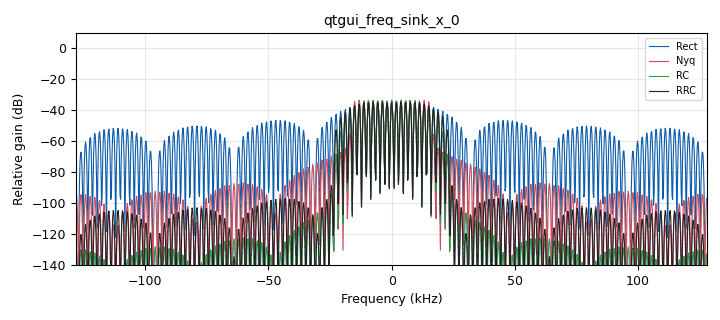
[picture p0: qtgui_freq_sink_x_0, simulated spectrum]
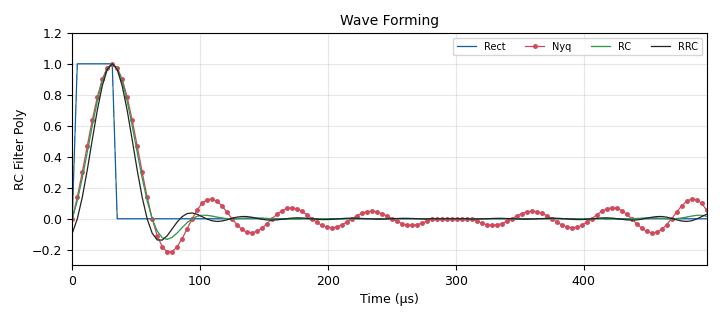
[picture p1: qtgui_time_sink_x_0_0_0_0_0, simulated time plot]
<?xml version='1.0' encoding='utf-8'?>
<?grc format='1' created='3.7.9'?>
<flow_graph>
<block>
<key>options</key>
<param><key>id</key><value>cosenoalzado</value></param>
<param><key>category</key><value>Custom</value></param>
<param><key>generate_options</key><value>qt_gui</value></param>
<param><key>run</key><value>run_stop</value></param>
</block>
<block>
<key>variable_qtgui_range</key>
<param><key>id</key><value>Delay_Nyquist</value></param>
<param><key>value</key><value>0</value></param>
<param><key>gui_hint</key><value>1,1,1,1</value></param>
<param><key>label</key><value>Retraso Nyq</value></param>
<param><key>orient</key><value>Qt.Horizontal</value></param>
<param><key>start</key><value>0</value></param>
<param><key>step</key><value>Sps</value></param>
<param><key>stop</key><value>ntaps*10000</value></param>
<param><key>rangeType</key><value>int</value></param>
</block>
<block>
<key>variable_qtgui_range</key>
<param><key>id</key><value>Delay_RC</value></param>
<param><key>value</key><value>0</value></param>
<param><key>gui_hint</key><value>1,2,1,1</value></param>
<param><key>label</key><value>Retraso RC</value></param>
<param><key>orient</key><value>Qt.Horizontal</value></param>
<param><key>start</key><value>0</value></param>
<param><key>step</key><value>Sps</value></param>
<param><key>stop</key><value>ntaps*10000</value></param>
<param><key>rangeType</key><value>int</value></param>
</block>
<block>
<key>variable_qtgui_range</key>
<param><key>id</key><value>Delay_RRC</value></param>
<param><key>value</key><value>0</value></param>
<param><key>gui_hint</key><value>1,3,1,1</value></param>
<param><key>label</key><value>Retraso RRC</value></param>
<param><key>orient</key><value>Qt.Horizontal</value></param>
<param><key>start</key><value>0</value></param>
<param><key>step</key><value>Sps</value></param>
<param><key>stop</key><value>ntaps*10000</value></param>
<param><key>rangeType</key><value>int</value></param>
</block>
<block>
<key>variable_qtgui_range</key>
<param><key>id</key><value>Delay_rect</value></param>
<param><key>value</key><value>0</value></param>
<param><key>gui_hint</key><value>1,0,1,1</value></param>
<param><key>label</key><value>Retraso Rect</value></param>
<param><key>orient</key><value>Qt.Horizontal</value></param>
<param><key>start</key><value>0</value></param>
<param><key>step</key><value>1</value></param>
<param><key>stop</key><value>ntaps*2</value></param>
<param><key>rangeType</key><value>int</value></param>
</block>
<block>
<key>variable</key>
<param><key>id</key><value>Rb</value></param>
<param><key>value</key><value>32000</value></param>
</block>
<block>
<key>variable</key>
<param><key>id</key><value>Sps</value></param>
<param><key>value</key><value>8</value></param>
</block>
<block>
<key>variable_qtgui_range</key>
<param><key>id</key><value>ntaps</value></param>
<param><key>value</key><value>Sps*16</value></param>
<param><key>gui_hint</key><value>0,2,1,1</value></param>
<param><key>label</key><value>ntaps</value></param>
<param><key>orient</key><value>Qt.Horizontal</value></param>
<param><key>start</key><value>Sps</value></param>
<param><key>step</key><value>Sps</value></param>
<param><key>stop</key><value>Sps*1024</value></param>
<param><key>rangeType</key><value>int</value></param>
</block>
<block>
<key>variable_qtgui_range</key>
<param><key>id</key><value>rolloff</value></param>
<param><key>value</key><value>0.5</value></param>
<param><key>gui_hint</key><value>0,1,1,1</value></param>
<param><key>label</key><value>Roll off</value></param>
<param><key>orient</key><value>Qt.Horizontal</value></param>
<param><key>start</key><value>0.1</value></param>
<param><key>step</key><value>0.1</value></param>
<param><key>stop</key><value>1.0</value></param>
</block>
<block>
<key>variable_qtgui_check_box</key>
<param><key>id</key><value>run_stop</value></param>
<param><key>value</key><value>True</value></param>
<param><key>false</key><value>False</value></param>
<param><key>gui_hint</key><value>0,0,1,1</value></param>
<param><key>label</key><value>Inicial/Parar</value></param>
<param><key>true</key><value>True</value></param>
<param><key>type</key><value>int</value></param>
</block>
<block>
<key>variable</key>
<param><key>id</key><value>samp_rate</value></param>
<param><key>value</key><value>Rb*Sps</value></param>
</block>
<block>
<key>b_Eye_Diagram_simple</key>
<param><key>id</key><value>b_Eye_Diagram_simple_0_0</value></param>
<param><key>AlphaLineas</key><value>0.5</value></param>
<param><key>Delay</key><value>0</value></param>
<param><key>gui_hint</key><value>pestana@2</value></param>
<param><key>GrosorLineas</key><value>20</value></param>
<param><key>N_eyes</key><value>2</value></param>
<param><key>Samprate</key><value>samp_rate</value></param>
<param><key>Sps</key><value>Sps</value></param>
<param><key>Title</key><value>"Eye Diagramm. Filtro Nyquist"</value></param>
<param><key>Ymax</key><value>2</value></param>
<param><key>Ymin</key><value>-2</value></param>
</block>
<block>
<key>b_binary_gen_rand</key>
<param><key>id</key><value>b_binary_gen_rand_0</value></param>
<param><key>_enabled</key><value>0</value></param>
</block>
<block>
<key>blocks_delay</key>
<param><key>id</key><value>blocks_delay_0</value></param>
<param><key>delay</key><value>121+ntaps*8+Delay_rect</value></param>
<param><key>type</key><value>float</value></param>
</block>
<block>
<key>blocks_delay</key>
<param><key>id</key><value>blocks_delay_0_0</value></param>
<param><key>delay</key><value>Delay_RC</value></param>
<param><key>type</key><value>float</value></param>
</block>
<block>
<key>blocks_delay</key>
<param><key>id</key><value>blocks_delay_0_0_0</value></param>
<param><key>delay</key><value>Delay_Nyquist</value></param>
<param><key>type</key><value>float</value></param>
</block>
<block>
<key>blocks_delay</key>
<param><key>id</key><value>blocks_delay_0_0_1</value></param>
<param><key>delay</key><value>Delay_RRC</value></param>
<param><key>type</key><value>float</value></param>
</block>
<block>
<key>blocks_throttle</key>
<param><key>id</key><value>blocks_throttle_0_0_0_0</value></param>
<param><key>samples_per_second</key><value>samp_rate</value></param>
<param><key>type</key><value>float</value></param>
</block>
<block>
<key>blocks_vector_source_x</key>
<param><key>id</key><value>blocks_vector_source_x_0</value></param>
<param><key>type</key><value>float</value></param>
<param><key>repeat</key><value>True</value></param>
<param><key>vector</key><value>(1,0,0,0,0,0,0,0,0,0,0,0,0,0,0,0,0)</value></param>
</block>
<block>
<key>import</key>
<param><key>id</key><value>import_0</value></param>
<param><key>import</key><value>import numpy</value></param>
</block>
<block>
<key>interp_fir_filter_xxx</key>
<param><key>id</key><value>interp_fir_filter_xxx_0_0_0</value></param>
<param><key>interp</key><value>Sps</value></param>
<param><key>taps</key><value>wform.rect(Sps)</value></param>
<param><key>type</key><value>fff</value></param>
</block>
<block>
<key>interp_fir_filter_xxx</key>
<param><key>id</key><value>interp_fir_filter_xxx_0_0_0_0</value></param>
<param><key>interp</key><value>Sps</value></param>
<param><key>taps</key><value>wform.nyq(Sps,ntaps)</value></param>
<param><key>type</key><value>fff</value></param>
</block>
<block>
<key>interp_fir_filter_xxx</key>
<param><key>id</key><value>interp_fir_filter_xxx_0_0_0_0_0</value></param>
<param><key>interp</key><value>Sps</value></param>
<param><key>taps</key><value>wform.rcos(Sps,ntaps,rolloff)</value></param>
<param><key>type</key><value>fff</value></param>
</block>
<block>
<key>interp_fir_filter_xxx</key>
<param><key>id</key><value>interp_fir_filter_xxx_0_0_0_0_0_0</value></param>
<param><key>interp</key><value>Sps</value></param>
<param><key>taps</key><value>wform.rrcos(Sps,ntaps,rolloff)</value></param>
<param><key>type</key><value>fff</value></param>
</block>
<block>
<key>note</key>
<param><key>id</key><value>note_0</value></param>
<param><key>note</key><value>INSTRUMENTOS</value></param>
</block>
<block>
<key>qtgui_tab_widget</key>
<param><key>id</key><value>pestana</value></param>
<param><key>label0</key><value>Datos</value></param>
<param><key>label1</key><value>Espectro</value></param>
<param><key>label2</key><value>Diagrama de Ojo</value></param>
<param><key>num_tabs</key><value>3</value></param>
</block>
<block>
<key>qtgui_freq_sink_x</key>
<param><key>id</key><value>qtgui_freq_sink_x_0</value></param>
<param><key>average</key><value>0.05</value></param>
<param><key>bw</key><value>samp_rate</value></param>
<param><key>fc</key><value>0</value></param>
<param><key>ctrlpanel</key><value>True</value></param>
<param><key>fftsize</key><value>1024</value></param>
<param><key>gui_hint</key><value>pestana@1</value></param>
<param><key>label1</key><value>Rect</value></param>
<param><key>width1</key><value>3</value></param>
<param><key>label2</key><value>Nyq</value></param>
<param><key>width2</key><value>3</value></param>
<param><key>label3</key><value>RC</value></param>
<param><key>width3</key><value>3</value></param>
<param><key>label4</key><value>RRC</value></param>
<param><key>width4</key><value>3</value></param>
<param><key>nconnections</key><value>4</value></param>
<param><key>showports</key><value>True</value></param>
<param><key>type</key><value>float</value></param>
<param><key>wintype</key><value>firdes.WIN_BLACKMAN_hARRIS</value></param>
</block>
<block>
<key>qtgui_time_sink_x</key>
<param><key>id</key><value>qtgui_time_sink_x_0_0_0_0_0</value></param>
<param><key>ctrlpanel</key><value>True</value></param>
<param><key>gui_hint</key><value>pestana@0</value></param>
<param><key>color1</key><value>"blue"</value></param>
<param><key>label1</key><value> Rect</value></param>
<param><key>width1</key><value>3</value></param>
<param><key>color2</key><value>"red"</value></param>
<param><key>label2</key><value>Nyq</value></param>
<param><key>marker2</key><value>0</value></param>
<param><key>width2</key><value>3</value></param>
<param><key>color3</key><value>"green"</value></param>
<param><key>label3</key><value>RC</value></param>
<param><key>width3</key><value>3</value></param>
<param><key>color4</key><value>"black"</value></param>
<param><key>label4</key><value>RRC</value></param>
<param><key>width4</key><value>3</value></param>
<param><key>name</key><value>"Wave Forming"</value></param>
<param><key>nconnections</key><value>4</value></param>
<param><key>size</key><value>ntaps</value></param>
<param><key>srate</key><value>samp_rate</value></param>
<param><key>tr_mode</key><value>qtgui.TRIG_MODE_AUTO</value></param>
<param><key>type</key><value>float</value></param>
<param><key>ylabel</key><value>RC Filter Poly</value></param>
<param><key>ymax</key><value>1.2</value></param>
<param><key>ymin</key><value>-0.3</value></param>
</block>
<block>
<key>virtual_sink</key>
<param><key>id</key><value>virtual_sink_0</value></param>
<param><key>stream_id</key><value>RC</value></param>
</block>
<block>
<key>virtual_sink</key>
<param><key>id</key><value>virtual_sink_0_0</value></param>
<param><key>stream_id</key><value>Rect</value></param>
</block>
<block>
<key>virtual_sink</key>
<param><key>id</key><value>virtual_sink_0_0_0</value></param>
<param><key>stream_id</key><value>Nyquist</value></param>
</block>
<block>
<key>virtual_sink</key>
<param><key>id</key><value>virtual_sink_0_1</value></param>
<param><key>stream_id</key><value>RRC</value></param>
</block>
<block>
<key>virtual_source</key>
<param><key>id</key><value>virtual_source_0</value></param>
<param><key>stream_id</key><value>Nyquist</value></param>
</block>
<block>
<key>virtual_source</key>
<param><key>id</key><value>virtual_source_0_0</value></param>
<param><key>stream_id</key><value>Rect</value></param>
</block>
<block>
<key>virtual_source</key>
<param><key>id</key><value>virtual_source_0_1_0</value></param>
<param><key>stream_id</key><value>Nyquist</value></param>
</block>
<block>
<key>virtual_source</key>
<param><key>id</key><value>virtual_source_0_2</value></param>
<param><key>stream_id</key><value>RC</value></param>
</block>
<block>
<key>virtual_source</key>
<param><key>id</key><value>virtual_source_0_2_1</value></param>
<param><key>stream_id</key><value>RRC</value></param>
</block>
<block>
<key>epy_module</key>
<param><key>id</key><value>wform</value></param>
<param><key>source_code</key><value>import math
import numpy
#######################################################
##        Hecho por Homero Ortega Boada              ##
##        comdiguis@saber.uis.edu.co                 ##
##     Universidad Industrial de Santander           ##
#######################################################

#######################################################
##               Forma rectangular                   ##
#######################################################                       
def rect(Sps):
    return Sps*[1.,]

#######################################################
##               Forma de Nyquist                    ##
#######################################################                       
def nyq(Sps,ntaps):
    n=numpy.linspace(-int(ntaps/2), int(ntaps/2-1),ntaps)
    h=numpy.sinc(n/Sps)
#    return h/numpy.amax(h)
    return h
#######################################################
##               Forma Coseno Alzado                 ##
#######################################################                       
def rcos(Sps,ntaps,beta):
    if beta==0:
        h=nyq(Sps,ntaps)
    else:
        h=ntaps*[0,]
        for n in range(ntaps):
            k=n-ntaps/2. # esto es para que h[n] quede centrada en la mitad del vector
            if abs(k)==Sps/(2.*beta):
                h[n]=numpy.sinc(1./(2.*beta))*math.pi/4.
            else:
                h[n]=numpy.sinc(k/Sps)*math.cos(beta*k*math.pi/Sps)/(1.-(2.*beta*k/Sps)**2)                
    Amp=numpy.amax(h)
    return h/Amp
#######################################################
##            Forma Raiz de Coseno Alzado            ##
#######################################################                       

def rrcos(Sps,ntaps,beta):
    if beta==0:
        h=nyq(Sps,ntaps)
    else:
        h=ntaps*[0,]
        beta4=4.*beta
        for n in range(ntaps):
            k=n-ntaps/2. # esto es para que h[n] quede centrada en la mitad del vector
            if k==0:
                h[n]=1+beta*(4./math.pi-1.)
            elif abs(k)==Sps/beta4:
                ha=(1.+2./math.pi)*math.sin(math.pi/beta4)
                hb=(1.-2./math.pi)*math.cos(math.pi/beta4)
                h[n]=(ha+hb)*beta/math.sqrt(2.)
            else:
                ks=k/Sps
                kspi=math.pi*ks
                Num=math.sin(kspi*(1-beta))+beta4*ks*math.cos(kspi*(1+beta))
                Den=kspi*(1.-(beta4*ks)**2)
                h[n]=Num/Den                
    Amp=numpy.amax(h)
    return h/Amp
</value></param>
</block>
<connection><source_block_id>b_binary_gen_rand_0</source_block_id><sink_block_id>interp_fir_filter_xxx_0_0_0</sink_block_id><source_key>0</source_key><sink_key>0</sink_key></connection>
<connection><source_block_id>b_binary_gen_rand_0</source_block_id><sink_block_id>interp_fir_filter_xxx_0_0_0_0</sink_block_id><source_key>0</source_key><sink_key>0</sink_key></connection>
<connection><source_block_id>b_binary_gen_rand_0</source_block_id><sink_block_id>interp_fir_filter_xxx_0_0_0_0_0</sink_block_id><source_key>0</source_key><sink_key>0</sink_key></connection>
<connection><source_block_id>b_binary_gen_rand_0</source_block_id><sink_block_id>interp_fir_filter_xxx_0_0_0_0_0_0</sink_block_id><source_key>0</source_key><sink_key>0</sink_key></connection>
<connection><source_block_id>blocks_delay_0</source_block_id><sink_block_id>blocks_throttle_0_0_0_0</sink_block_id><source_key>0</source_key><sink_key>0</sink_key></connection>
<connection><source_block_id>blocks_delay_0_0</source_block_id><sink_block_id>virtual_sink_0</sink_block_id><source_key>0</source_key><sink_key>0</sink_key></connection>
<connection><source_block_id>blocks_delay_0_0_0</source_block_id><sink_block_id>virtual_sink_0_0_0</sink_block_id><source_key>0</source_key><sink_key>0</sink_key></connection>
<connection><source_block_id>blocks_delay_0_0_1</source_block_id><sink_block_id>virtual_sink_0_1</sink_block_id><source_key>0</source_key><sink_key>0</sink_key></connection>
<connection><source_block_id>blocks_throttle_0_0_0_0</source_block_id><sink_block_id>virtual_sink_0_0</sink_block_id><source_key>0</source_key><sink_key>0</sink_key></connection>
<connection><source_block_id>blocks_vector_source_x_0</source_block_id><sink_block_id>interp_fir_filter_xxx_0_0_0</sink_block_id><source_key>0</source_key><sink_key>0</sink_key></connection>
<connection><source_block_id>blocks_vector_source_x_0</source_block_id><sink_block_id>interp_fir_filter_xxx_0_0_0_0</sink_block_id><source_key>0</source_key><sink_key>0</sink_key></connection>
<connection><source_block_id>blocks_vector_source_x_0</source_block_id><sink_block_id>interp_fir_filter_xxx_0_0_0_0_0</sink_block_id><source_key>0</source_key><sink_key>0</sink_key></connection>
<connection><source_block_id>blocks_vector_source_x_0</source_block_id><sink_block_id>interp_fir_filter_xxx_0_0_0_0_0_0</sink_block_id><source_key>0</source_key><sink_key>0</sink_key></connection>
<connection><source_block_id>interp_fir_filter_xxx_0_0_0</source_block_id><sink_block_id>blocks_delay_0</sink_block_id><source_key>0</source_key><sink_key>0</sink_key></connection>
<connection><source_block_id>interp_fir_filter_xxx_0_0_0_0</source_block_id><sink_block_id>blocks_delay_0_0_0</sink_block_id><source_key>0</source_key><sink_key>0</sink_key></connection>
<connection><source_block_id>interp_fir_filter_xxx_0_0_0_0_0</source_block_id><sink_block_id>blocks_delay_0_0</sink_block_id><source_key>0</source_key><sink_key>0</sink_key></connection>
<connection><source_block_id>interp_fir_filter_xxx_0_0_0_0_0_0</source_block_id><sink_block_id>blocks_delay_0_0_1</sink_block_id><source_key>0</source_key><sink_key>0</sink_key></connection>
<connection><source_block_id>virtual_source_0</source_block_id><sink_block_id>qtgui_freq_sink_x_0</sink_block_id><source_key>0</source_key><sink_key>1</sink_key></connection>
<connection><source_block_id>virtual_source_0</source_block_id><sink_block_id>qtgui_time_sink_x_0_0_0_0_0</sink_block_id><source_key>0</source_key><sink_key>1</sink_key></connection>
<connection><source_block_id>virtual_source_0_0</source_block_id><sink_block_id>qtgui_freq_sink_x_0</sink_block_id><source_key>0</source_key><sink_key>0</sink_key></connection>
<connection><source_block_id>virtual_source_0_0</source_block_id><sink_block_id>qtgui_time_sink_x_0_0_0_0_0</sink_block_id><source_key>0</source_key><sink_key>0</sink_key></connection>
<connection><source_block_id>virtual_source_0_1_0</source_block_id><sink_block_id>b_Eye_Diagram_simple_0_0</sink_block_id><source_key>0</source_key><sink_key>0</sink_key></connection>
<connection><source_block_id>virtual_source_0_2</source_block_id><sink_block_id>qtgui_freq_sink_x_0</sink_block_id><source_key>0</source_key><sink_key>2</sink_key></connection>
<connection><source_block_id>virtual_source_0_2</source_block_id><sink_block_id>qtgui_time_sink_x_0_0_0_0_0</sink_block_id><source_key>0</source_key><sink_key>2</sink_key></connection>
<connection><source_block_id>virtual_source_0_2_1</source_block_id><sink_block_id>qtgui_freq_sink_x_0</sink_block_id><source_key>0</source_key><sink_key>3</sink_key></connection>
<connection><source_block_id>virtual_source_0_2_1</source_block_id><sink_block_id>qtgui_time_sink_x_0_0_0_0_0</sink_block_id><source_key>0</source_key><sink_key>3</sink_key></connection>
</flow_graph>
